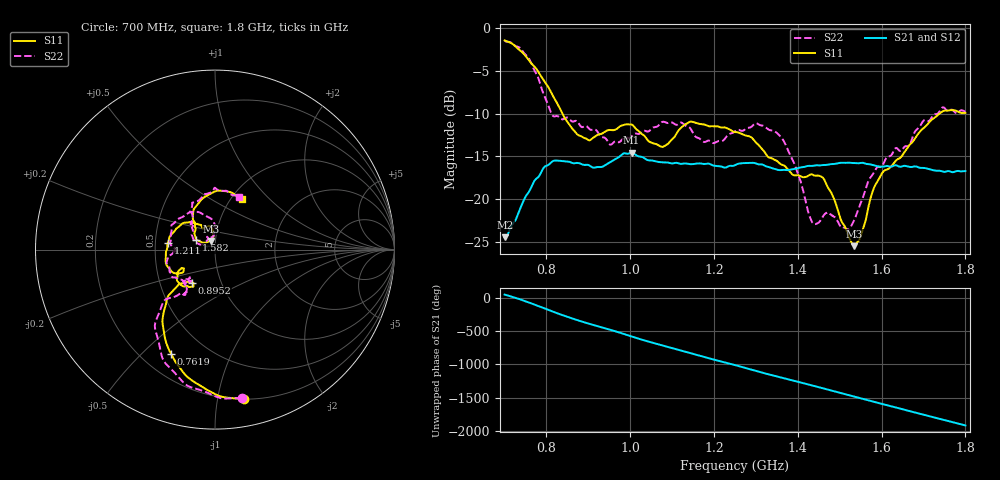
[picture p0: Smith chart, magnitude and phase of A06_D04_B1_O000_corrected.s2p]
! Created with skrf 1.9.0 (http://scikit-rf.org).
# Hz S RI R 50.0
!freq ReS11 ImS11 ReS21 ImS21 ReS12 ImS12 ReS22 ImS22
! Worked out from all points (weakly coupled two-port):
!   1601 points, 700 MHz to 1.8 GHz, reference 50 ohm
!   highest |S21| = -14.57 dB at 1.003 GHz (marker M1); lowest = -24.5 dB at 701.4 MHz (marker M2)
!   lowest |S11| = -25.5 dB at 1.535 GHz (marker M3), VSWR 1.11, Z = 47.5 + j4.56 ohm
!   |S11| at or under -10 dB: 838.1 MHz to 1.738 GHz (900.2 MHz wide, 69.9 % of centre)
!   |S22| runs from -23.6 to -1.5 dB; largest |S21 - S12| = 0.0035
!   S11 on the Smith chart (normalised r, x): 700 MHz: 0.20, -1.19; 761.9 MHz: 0.32, -0.62; 895.2 MHz: 0.72, -0.28; 1.211 GHz: 0.58, +0.05; 1.582 GHz: 0.81, +0.09; 1.8 GHz: 1.12, +0.70
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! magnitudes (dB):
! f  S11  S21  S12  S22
! 700 MHz  -1.4  -24.5  -24.2  -1.5
! 701.4 MHz  -1.5  -24.5  -24.1  -1.5
! 761.9 MHz  -4.0  -18.8  -18.7  -3.9
! 814.1 MHz  -7.8  -15.6  -15.6  -10.2
! 883.6 MHz  -12.7  -15.9  -15.8  -11.6
! 895.2 MHz  -12.9  -16.0  -16.1  -11.5
! 953 MHz  -11.9  -15.6  -15.6  -13.6
! 1.003 GHz  -11.3  -14.6  -14.7  -12.7
! 1.067 GHz  -13.7  -15.6  -15.6  -11.4
! 1.142 GHz  -10.9  -15.9  -15.9  -11.6
! 1.211 GHz  -11.5  -16.1  -16.1  -13.2
! 1.25 GHz  -12.2  -16.0  -16.0  -12.1
! 1.302 GHz  -13.4  -15.9  -15.8  -11.1
! 1.359 GHz  -15.9  -16.6  -16.6  -12.7
! 1.434 GHz  -17.1  -16.1  -16.1  -22.7
! 1.463 GHz  -17.7  -16.0  -16.0  -21.8
! 1.518 GHz  -24.0  -15.7  -15.7  -23.5
! 1.535 GHz  -25.5  -15.8  -15.8  -22.4
! 1.582 GHz  -18.6  -16.0  -16.0  -16.8
! 1.617 GHz  -16.4  -16.2  -16.1  -15.0
! 1.742 GHz  -9.8  -16.7  -16.7  -9.4
! 1.8 GHz  -9.9  -16.7  -16.7  -9.8
